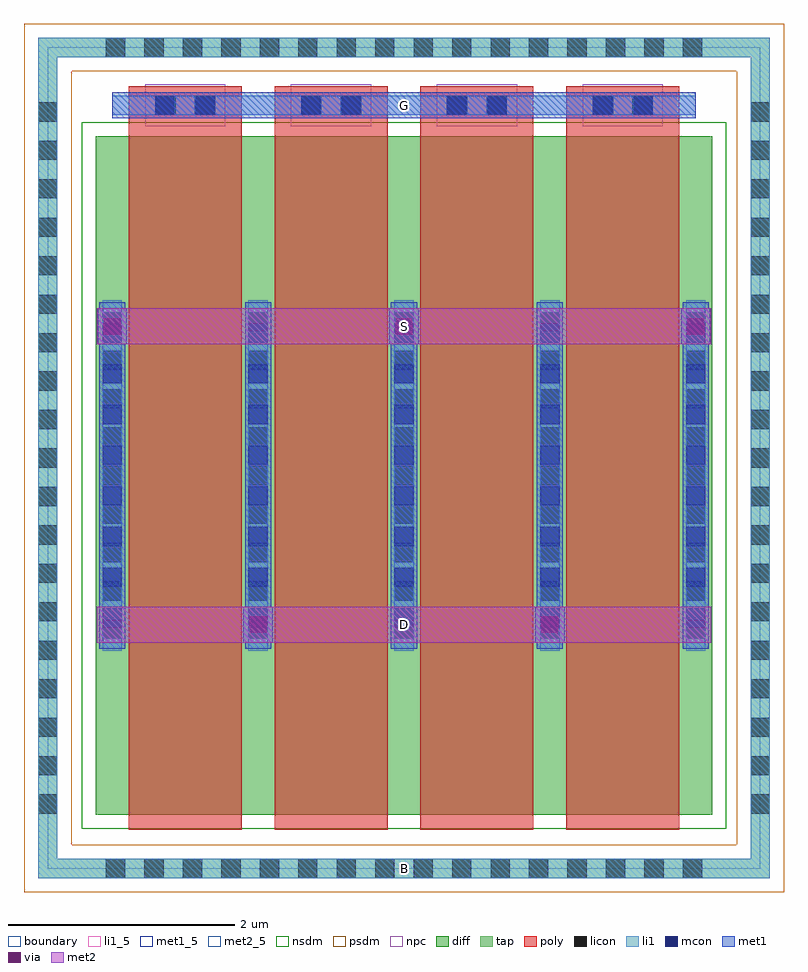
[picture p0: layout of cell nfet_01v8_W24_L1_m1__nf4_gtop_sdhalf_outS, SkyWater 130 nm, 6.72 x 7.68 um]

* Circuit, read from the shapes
.subckt nfet_01v8_W24_L1_m1__nf4_gtop_sdhalf_outS B D G S
XM1 D G S B sky130_fd_pr__nfet_01v8 w=6 l=1 m=4
.ends

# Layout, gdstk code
import gdstk
lib = gdstk.Library(unit=1e-6, precision=1e-09)
def R(c, l, rs):  # rectangles x0, y0, x1, y1
    for r in rs: c.add(gdstk.rectangle(r[:2], r[2:], *l))
def A(c, l, x, y, w, h, nx, ny, dx, dy):  # array of equal rectangles
    R(c, l, [(x+i*dx, y+j*dy, x+i*dx+w, y+j*dy+h) for i in range(nx) for j in range(ny)])
diff = (65, 20)
tap = (65, 44)
poly = (66, 20)
licon = (66, 44)
li1_5 = (67, 5)
li1 = (67, 20)
mcon = (67, 44)
met1_5 = (68, 5)
met1 = (68, 20)
via = (68, 44)
met2_5 = (69, 5)
met2 = (69, 20)
nsdm = (93, 44)
psdm = (94, 20)
npc = (95, 20)
boundary = (235, 4)

sky130_fd_pr__nfet_01v8_ = lib.new_cell('sky130_fd_pr__nfet_01v8_6FVBXA')
R(sky130_fd_pr__nfet_01v8_, diff, [(-2.725,-3.155,2.725,2.845)])
R(sky130_fd_pr__nfet_01v8_, tap, [(-3.235,-3.715,3.235,-3.545), (-3.235,-3.545,-3.065,3.545), (3.065,-3.545,3.235,3.545), (-3.235,3.545,3.235,3.715)])
A(sky130_fd_pr__nfet_01v8_, poly, -2.435, -3.285, 1, 6.57, 4, 1, 1.29, 0)
A(sky130_fd_pr__nfet_01v8_, licon, -2.635, -3.715, 0.17, 0.17, 16, 2, 0.34, 7.26)
A(sky130_fd_pr__nfet_01v8_, licon, -3.235, -3.145, 0.17, 0.17, 1, 19, 0, 0.34)
A(sky130_fd_pr__nfet_01v8_, licon, 3.065, -3.145, 0.17, 0.17, 1, 19, 0, 0.34)
A(sky130_fd_pr__nfet_01v8_, licon, -2.665, -1.6, 0.17, 0.17, 5, 9, 1.29, 0.34)
R(sky130_fd_pr__nfet_01v8_, licon, [(-2.19,3.035,-2.02,3.205), (-1.85,3.035,-1.68,3.205), (-0.9,3.035,-0.73,3.205), (-0.56,3.035,-0.39,3.205), (0.39,3.035,0.56,3.205), (0.73,3.035,0.9,3.205), (1.68,3.035,1.85,3.205), (2.02,3.035,2.19,3.205)])
A(sky130_fd_pr__nfet_01v8_, li1, -2.665, -1.705, 0.17, 3.1, 5, 1, 1.29, 0)
R(sky130_fd_pr__nfet_01v8_, li1, [(-3.235,-3.715,3.235,-3.545), (-3.235,-3.545,-3.065,3.545), (3.065,-3.545,3.235,3.545), (-2.58,3.035,2.58,3.205), (-3.235,3.545,3.235,3.715)])
A(sky130_fd_pr__nfet_01v8_, mcon, -2.665, -1.5, 0.17, 0.17, 5, 8, 1.29, 0.36)
R(sky130_fd_pr__nfet_01v8_, mcon, [(-2.2,3.035,-2.03,3.205), (-1.84,3.035,-1.67,3.205), (-0.91,3.035,-0.74,3.205), (-0.55,3.035,-0.38,3.205), (0.38,3.035,0.55,3.205), (0.74,3.035,0.91,3.205), (1.67,3.035,1.84,3.205), (2.03,3.035,2.2,3.205)])
A(sky130_fd_pr__nfet_01v8_, met1, -2.695, -1.685, 0.23, 3.06, 5, 1, 1.29, 0)
A(sky130_fd_pr__nfet_01v8_, met1, -2.415, 3.005, 0.96, 0.03, 4, 2, 1.29, 0.2)
R(sky130_fd_pr__nfet_01v8_, met1, [(-2.58,3.035,2.58,3.205)])
R(sky130_fd_pr__nfet_01v8_, nsdm, [(-2.85,-3.28,2.85,2.97)])
R(sky130_fd_pr__nfet_01v8_, psdm, [(-3.36,-3.84,3.36,-3.42), (-3.36,-3.42,-2.94,3.42), (2.94,-3.42,3.36,3.42), (-3.36,3.42,3.36,3.84)])
A(sky130_fd_pr__nfet_01v8_, npc, -2.29, 2.935, 0.71, 0.37, 4, 1, 1.29, 0)
R(sky130_fd_pr__nfet_01v8_, boundary, [(-3.15,-3.63,3.15,3.63)])
sky130_fd_pr__nfet_01v8_.add(gdstk.Label('B', (0,-3.63), layer=67, texttype=5))
sky130_fd_pr__nfet_01v8_.add(gdstk.Label('D0', (-2.58,-0.155), layer=67, texttype=5))
sky130_fd_pr__nfet_01v8_.add(gdstk.Label('G', (1.935,3.12), layer=67, texttype=5))
sky130_fd_pr__nfet_01v8_.add(gdstk.Label('G', (0.645,3.12), layer=67, texttype=5))
sky130_fd_pr__nfet_01v8_.add(gdstk.Label('G', (-0.645,3.12), layer=67, texttype=5))
sky130_fd_pr__nfet_01v8_.add(gdstk.Label('G', (-1.935,3.12), layer=67, texttype=5))
sky130_fd_pr__nfet_01v8_.add(gdstk.Label('S1', (-1.29,-0.155), layer=67, texttype=5))
sky130_fd_pr__nfet_01v8_.add(gdstk.Label('D2', (0,-0.155), layer=67, texttype=5))
sky130_fd_pr__nfet_01v8_.add(gdstk.Label('S3', (1.29,-0.155), layer=67, texttype=5))

nfet_01v8_w24_l1_m1__nf4 = lib.new_cell('nfet_01v8_W24_L1_m1__nf4_gtop_sdhalf_outS')
R(nfet_01v8_w24_l1_m1__nf4, li1_5, [(3.065,-0.085,3.235,0.085)])
R(nfet_01v8_w24_l1_m1__nf4, li1, [(3.065,-0.085,3.235,0.085)])
R(nfet_01v8_w24_l1_m1__nf4, met1_5, [(0.57,6.635,5.73,6.865)])
A(nfet_01v8_w24_l1_m1__nf4, met1, 0.44, 4.635, 0.26, 0.32, 3, 1, 2.58, 0)
R(nfet_01v8_w24_l1_m1__nf4, met1, [(1.73,1.995,1.99,2.315), (4.31,1.995,4.57,2.315), (0.57,6.635,5.73,6.865)])
A(nfet_01v8_w24_l1_m1__nf4, via, 0.495, 4.72, 0.15, 0.15, 3, 1, 2.58, 0)
R(nfet_01v8_w24_l1_m1__nf4, via, [(1.785,2.08,1.935,2.23), (4.365,2.08,4.515,2.23)])
R(nfet_01v8_w24_l1_m1__nf4, met2_5, [(0.435,1.995,5.865,2.315), (0.435,4.635,5.865,4.955)])
R(nfet_01v8_w24_l1_m1__nf4, met2, [(0.435,1.995,5.865,2.315), (0.435,4.635,5.865,4.955)])
nfet_01v8_w24_l1_m1__nf4.add(gdstk.Reference(sky130_fd_pr__nfet_01v8_, (3.15,3.63)))
nfet_01v8_w24_l1_m1__nf4.add(gdstk.Label('S', (3.15,4.795), layer=69, texttype=5))
nfet_01v8_w24_l1_m1__nf4.add(gdstk.Label('D', (3.15,2.155), layer=69, texttype=5))
nfet_01v8_w24_l1_m1__nf4.add(gdstk.Label('G', (3.15,6.75), layer=68, texttype=5))
nfet_01v8_w24_l1_m1__nf4.add(gdstk.Label('B', (3.15,0), layer=67, texttype=5))

lib.write_gds('nfet_01v8_W24_L1_m1__nf4_gtop_sdhalf_outS.gds')
